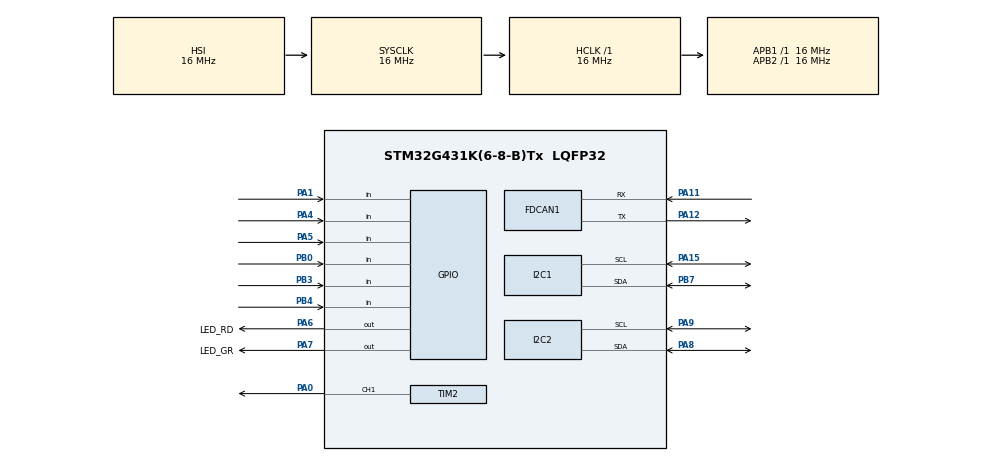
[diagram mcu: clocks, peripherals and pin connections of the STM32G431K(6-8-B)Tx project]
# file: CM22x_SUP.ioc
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Mcu.Family=STM32G4
Mcu.Name=STM32G431K(6-8-B)Tx
Mcu.Package=LQFP32
NVIC.PriorityGroup=NVIC_PRIORITYGROUP_4
PA0.Signal=S_TIM2_CH1
PA1.Signal=GPIO_Input
PA11.Mode=FDCAN_Activate
PA11.Signal=FDCAN1_RX
PA12.Mode=FDCAN_Activate
PA12.Signal=FDCAN1_TX
PA13.Mode=Serial_Wire
PA13.Signal=SYS_JTMS-SWDIO
PA14.Mode=Serial_Wire
PA14.Signal=SYS_JTCK-SWCLK
PA15.Mode=I2C
PA15.Signal=I2C1_SCL
PA4.Signal=GPIO_Input
PA5.Signal=GPIO_Input
PA6.GPIO_Label=LED_RD
PA6.Signal=GPIO_Output
PA7.GPIO_Label=LED_GR
PA7.Signal=GPIO_Output
PA8.Mode=I2C
PA8.Signal=I2C2_SDA
PA9.Mode=I2C
PA9.Signal=I2C2_SCL
PB0.Signal=GPIO_Input
PB3.Signal=GPIO_Input
PB4.Signal=GPIO_Input
PB7.Mode=I2C
PB7.Signal=I2C1_SDA
PF0-OSC_IN.Signal=RCC_OSC_IN
ProjectManager.HeapSize=0x200
ProjectManager.StackSize=0x400
ProjectManager.TargetToolchain=STM32CubeIDE
RCC.AHBFreq_Value=16000000
RCC.APB1Freq_Value=16000000
RCC.APB1TimFreq_Value=16000000
RCC.APB2Freq_Value=16000000
RCC.APB2TimFreq_Value=16000000
RCC.CortexFreq_Value=16000000
RCC.EXTERNAL_CLOCK_VALUE=12288000
RCC.HCLKFreq_Value=16000000
RCC.HSE_VALUE=8000000
RCC.HSI48_VALUE=48000000
RCC.HSI_VALUE=16000000
RCC.LSE_VALUE=32768
RCC.SYSCLKFreq_VALUE=16000000
RCC.USBFreq_Value=64000000
RCC.VCOOutputFreq_Value=128000000
SH.S_TIM2_CH1.0=TIM2_CH1,PWM Generation1 CH1
TIM2.Channel-PWM\ Generation1\ CH1=TIM_CHANNEL_1
VP_SYS_VS_DBSignals.Mode=DisableDeadBatterySignals
board=custom

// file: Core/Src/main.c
/* USER CODE BEGIN Header */
/**
  ******************************************************************************
  * @file           : main.c
  * @brief          : Main program body
  ******************************************************************************
  * @attention
  *
  * Copyright (c) 2022 STMicroelectronics.
  * All rights reserved.
  *
  * This software is licensed under terms that can be found in the LICENSE file
  * in the root directory of this software component.
  * If no LICENSE file comes with this software, it is provided AS-IS.
  *
  ******************************************************************************
  */
/* USER CODE END Header */
#include "main.h"
#include "fdcan.h"
#include "i2c.h"
#include "tim.h"
#include "gpio.h"

/* USER CODE BEGIN Includes */
#include "mcp23008.h"
#include "tps2482.h"
/* USER CODE END Includes */

void SystemClock_Config(void);

int main(void)
{

  /* MCU Configuration--------------------------------------------------------*/

  /* Reset of all peripherals, Initializes the Flash interface and the Systick. */
  HAL_Init();

  /* Configure the system clock */
  SystemClock_Config();

  /* Initialize all configured peripherals */
  MX_GPIO_Init();
  MX_FDCAN1_Init();
  MX_I2C1_Init();
  MX_I2C2_Init();
  MX_TIM2_Init();
  /* USER CODE BEGIN 2 */
  MCP23008_HandleTypeDef hmcp;
  mcp23008_init(&hmcp, &hi2c1, MCP23008_ADDRESS_21);
  mcp23008_iodir(&hmcp, MCP23008_IODIR_ALL_OUTPUT);
  mcp23008_ipol(&hmcp, MCP23008_IPOL_ALL_NORMAL);
  mcp23008_ggpu(&hmcp, MCP23008_GPPU_ALL_DISABLED);

  TPS2482_HandleTypeDef htps;
  tps2482_init(&htps, &hi2c1, TPS2482_SLAVE15);
  HAL_GPIO_WritePin(LED_RD_GPIO_Port, LED_RD_Pin, GPIO_PIN_SET);

  /* USER CODE END 2 */

  /* Infinite loop */
  /* USER CODE BEGIN WHILE */
  while (1)
  {
	  //mcp23008_write_gpio_pin(&hmcp, 1, 1);
	  hmcp.gpio[0] = 0b10000001;
	  mcp23008_write_gpio(&hmcp);
	  ReadTPS2482(&htps);
	  if(InitTPS2482(&htps) == HAL_OK)
	  {
		  HAL_GPIO_WritePin(LED_GR_GPIO_Port, LED_GR_Pin, GPIO_PIN_SET);
	  }
    /* USER CODE END WHILE */

  }
}

void SystemClock_Config(void)
{
  RCC_OscInitTypeDef RCC_OscInitStruct = {0};
  RCC_ClkInitTypeDef RCC_ClkInitStruct = {0};

  /** Configure the main internal regulator output voltage
  */
  HAL_PWREx_ControlVoltageScaling(PWR_REGULATOR_VOLTAGE_SCALE1);

  /** Initializes the RCC Oscillators according to the specified parameters
  * in the RCC_OscInitTypeDef structure.
  */
  RCC_OscInitStruct.OscillatorType = RCC_OSCILLATORTYPE_HSI;
  RCC_OscInitStruct.HSIState = RCC_HSI_ON;
  RCC_OscInitStruct.HSICalibrationValue = RCC_HSICALIBRATION_DEFAULT;
  RCC_OscInitStruct.PLL.PLLState = RCC_PLL_NONE;
  if (HAL_RCC_OscConfig(&RCC_OscInitStruct) != HAL_OK)
  {
    Error_Handler();
  }

  /** Initializes the CPU, AHB and APB buses clocks
  */
  RCC_ClkInitStruct.ClockType = RCC_CLOCKTYPE_HCLK|RCC_CLOCKTYPE_SYSCLK
                              |RCC_CLOCKTYPE_PCLK1|RCC_CLOCKTYPE_PCLK2;
  RCC_ClkInitStruct.SYSCLKSource = RCC_SYSCLKSOURCE_HSI;
  RCC_ClkInitStruct.AHBCLKDivider = RCC_SYSCLK_DIV1;
  RCC_ClkInitStruct.APB1CLKDivider = RCC_HCLK_DIV1;
  RCC_ClkInitStruct.APB2CLKDivider = RCC_HCLK_DIV1;

  if (HAL_RCC_ClockConfig(&RCC_ClkInitStruct, FLASH_LATENCY_0) != HAL_OK)
  {
    Error_Handler();
  }
}

void Error_Handler(void)
{
  __disable_irq();
  while (1)
  {
  }
}
